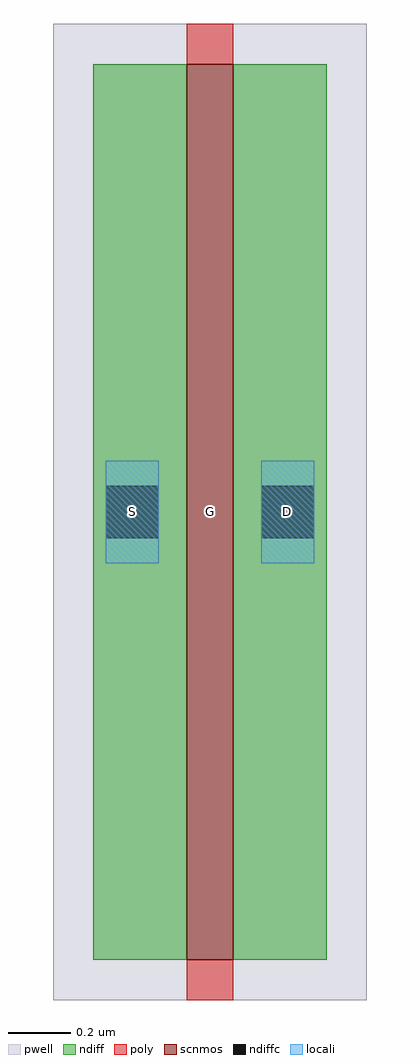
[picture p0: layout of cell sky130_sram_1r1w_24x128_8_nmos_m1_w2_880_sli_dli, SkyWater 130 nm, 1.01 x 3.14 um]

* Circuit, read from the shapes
.subckt sky130_sram_1r1w_24x128_8_nmos_m1_w2_880_sli_dli G S D
XM1 D G S VSUBS sky130_fd_pr__nfet_01v8 w=2.88 l=0.15
.ends

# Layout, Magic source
magic
tech sky130B
magscale 1 2
<< pwell >>
rect -26 -26 176 602
<< scnmos >>
rect 60 0 90 576
<< ndiff >>
rect 0 0 60 576
rect 90 0 150 576
<< poly >>
rect 60 576 90 602
rect 60 -26 90 0
<< locali >>
rect 8 255 42 321
rect 108 255 142 321
use sky130_sram_1r1w_24x128_8_contact_10  sky130_sram_1r1w_24x128_8_contact_10_0
transform 1 0 100 0 1 255
box -26 -22 76 88
use sky130_sram_1r1w_24x128_8_contact_10  sky130_sram_1r1w_24x128_8_contact_10_1
transform 1 0 0 0 1 255
box -26 -22 76 88
<< labels >>
rlabel poly s 75 288 75 288 4 G
port 1 nsew
rlabel locali s 25 288 25 288 4 S
port 2 nsew
rlabel locali s 125 288 125 288 4 D
port 3 nsew
<< properties >>
string FIXED_BBOX -25 -26 175 602
<< end >>

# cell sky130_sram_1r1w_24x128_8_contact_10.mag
magic
tech sky130B
<< pwell >>
rect -13 -11 38 44
<< ndiff >>
rect 0 25 25 31
rect 0 8 4 25
rect 21 8 25 25
rect 0 2 25 8
<< ndiffc >>
rect 4 8 21 25
<< locali >>
rect 4 25 21 33
rect 4 0 21 8
<< properties >>
string FIXED_BBOX -12 -10 37 43
<< end >>
